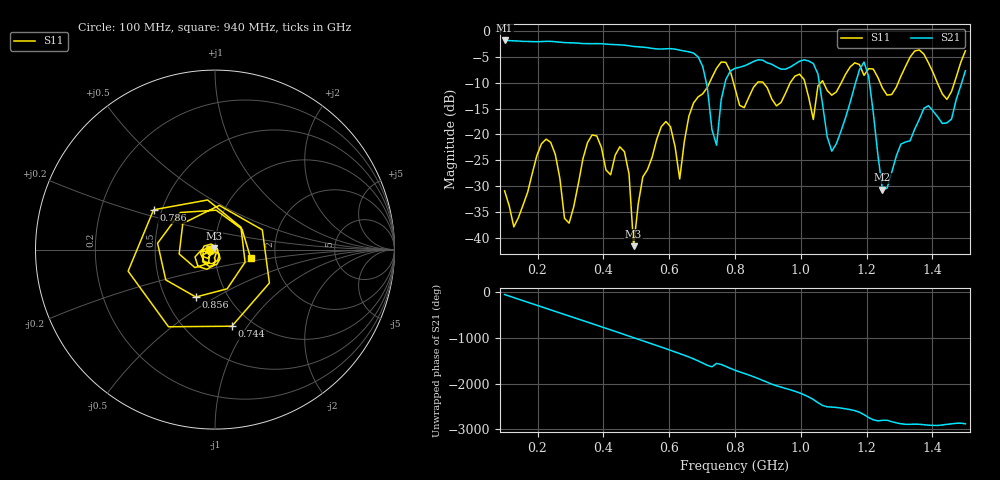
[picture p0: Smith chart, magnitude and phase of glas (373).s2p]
! NanoVNA-App
! Date: 2025-09-25 15:58:23
! Start: 100MHz Stop: 1,5GHz Points: 101
! S-Parameter data: F S11 S21 S12 S22
# Hz S RI R 50
!  Frequency  S11_Real  S11_Imag  S21_Real  S21_Imag  S12_Real  S12_Imag  S22_Real  S22_Imag
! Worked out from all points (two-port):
!   101 points, 100 MHz to 1.5 GHz, reference 50 ohm
!   highest |S21| = -1.80 dB at 100 MHz (marker M1); lowest = -30.7 dB at 1.248 GHz (marker M2)
!   |S21| within 3 dB of the highest: start of sweep to 684.3 MHz
!   lowest |S11| = -41.7 dB at 492 MHz (marker M3), VSWR 1.02, Z = 49.5 + j0.626 ohm
!   |S11| at or under -10 dB: start of sweep to 722.5 MHz; 795.4 MHz to 867.9 MHz (72.49 MHz wide, 8.72 % of centre); 885.9 MHz to 967.7 MHz (81.81 MHz wide, 8.83 % of centre) (the widest 3 of 7)
!   S12 and S22 are empty: the file has one direction only
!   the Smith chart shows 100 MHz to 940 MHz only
!   S11 on the Smith chart (normalised r, x): 100 MHz: 0.95, -0.01; 744 MHz: 0.81, -0.85; 786 MHz: 0.45, +0.24; 856 MHz: 0.71, -0.41; 940 MHz: 1.49, -0.15
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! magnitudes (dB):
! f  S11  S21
! 100 MHz  -30.9  -1.8
! 128 MHz  -37.9  -1.9
! 226 MHz  -20.9  -2.0
! 296 MHz  -37.2  -2.2
! 338 MHz  -24.7  -2.4
! 464 MHz  -23.4  -2.7
! 492 MHz  -41.7  -3.0
! 576 MHz  -18.5  -3.5
! 632 MHz  -28.6  -3.7
! 702 MHz  -12.1  -6.8
! 744 MHz  -7.2  -22.1
! 786 MHz  -7.8  -7.7
! 800 MHz  -11.1  -7.2
! 856 MHz  -10.9  -5.9
! 940 MHz  -13.8  -7.4
! 996 MHz  -8.3  -5.8
! 1.038 GHz  -17.1  -6.3
! 1.094 GHz  -12.4  -23.2
! 1.192 GHz  -8.6  -6.0
! 1.248 GHz  -11.0  -30.7
! 1.276 GHz  -12.3  -27.3
! 1.5 GHz  -3.8  -7.7
